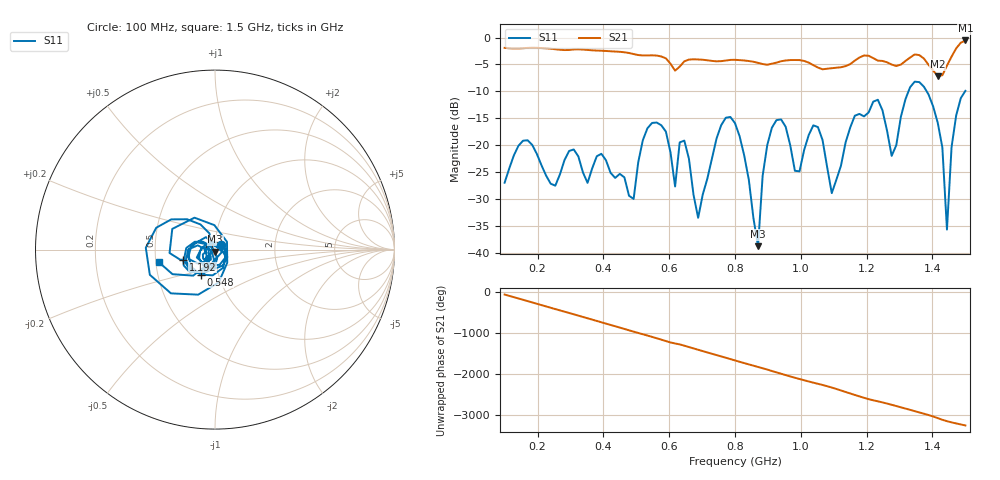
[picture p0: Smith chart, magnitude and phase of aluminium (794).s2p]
! NanoVNA-App
! Date: 2025-09-25 15:01:28
! Start: 100MHz Stop: 1,5GHz Points: 101
! S-Parameter data: F S11 S21 S12 S22
# Hz S RI R 50
!  Frequency  S11_Real  S11_Imag  S21_Real  S21_Imag  S12_Real  S12_Imag  S22_Real  S22_Imag
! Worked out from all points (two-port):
!   101 points, 100 MHz to 1.5 GHz, reference 50 ohm
!   highest |S21| = -0.54 dB at 1.5 GHz (marker M1); lowest = -7.2 dB at 1.416 GHz (marker M2)
!   |S21| within 3 dB of the highest: start of sweep to 577 MHz; 1.458 GHz to end of sweep (the widest 2 of 4)
!   lowest |S11| = -38.7 dB at 870 MHz (marker M3), VSWR 1.02, Z = 50.1 - j1.15 ohm
!   |S11| at or under -10 dB: start of sweep to 1.327 GHz; 1.382 GHz to 1.499 GHz (116.5 MHz wide, 8.09 % of centre)
!   S12 and S22 are empty: the file has one direction only
!   S11 on the Smith chart (normalised r, x): 100 MHz: 1.07, +0.06; 548 MHz: 0.82, -0.23; 1.192 GHz: 0.70, -0.08; 1.5 GHz: 0.52, -0.08
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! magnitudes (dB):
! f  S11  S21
! 100 MHz  -27.0  -1.9
! 156 MHz  -19.2  -2.0
! 338 MHz  -25.0  -2.2
! 492 MHz  -30.0  -3.1
! 548 MHz  -15.9  -3.3
! 576 MHz  -16.3  -3.5
! 618 MHz  -27.6  -6.1
! 646 MHz  -19.1  -4.4
! 688 MHz  -33.5  -4.1
! 800 MHz  -15.9  -4.1
! 870 MHz  -38.7  -4.7
! 912 MHz  -16.8  -4.9
! 996 MHz  -24.8  -4.2
! 1.038 GHz  -16.3  -5.1
! 1.094 GHz  -28.9  -5.7
! 1.192 GHz  -14.6  -3.3
! 1.276 GHz  -22.0  -5.0
! 1.346 GHz  -8.2  -3.1
! 1.416 GHz  -15.8  -7.2
! 1.444 GHz  -35.7  -5.2
! 1.458 GHz  -20.3  -3.5
! 1.5 GHz  -9.9  -0.5
